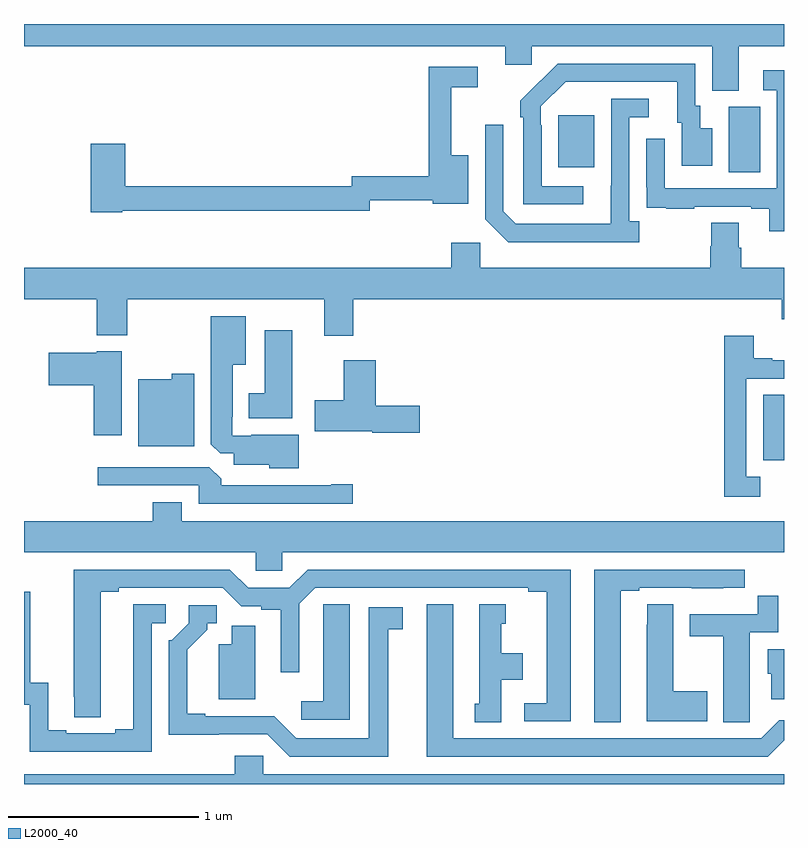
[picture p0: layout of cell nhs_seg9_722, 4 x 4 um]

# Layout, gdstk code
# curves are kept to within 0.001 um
import gdstk
lib = gdstk.Library(unit=1e-6, precision=1e-09)
def R(c, l, rs):  # rectangles x0, y0, x1, y1
    for r in rs: c.add(gdstk.rectangle(r[:2], r[2:], *l))
def P(c, l, *ps):  # polygons
    for p in ps: c.add(gdstk.Polygon(p, *l))
L2000_40 = (2000, 40)

nhs_seg9_722 = lib.new_cell('nhs_seg9_722')
R(nhs_seg9_722, L2000_40, [(150.89,1230.205,151,1230.548), (150.71,1231.72,150.874,1232.064), (149.813,1231.745,150.001,1232.02)])
P(nhs_seg9_722, L2000_40, [(150.763,1232.384),(151,1232.384),(151,1232.5),(147,1232.5),(147,1232.384),(149.534,1232.384),(149.534,1232.286),(149.673,1232.286),(149.673,1232.384),(150.623,1232.384),(150.623,1232.149),(150.763,1232.149)],
  [(149.944,1231.647),(149.724,1231.647),(149.724,1231.967),(149.721,1231.967),(149.721,1232.067),(149.85,1232.196),(150.437,1232.196),(150.437,1231.98),(150.461,1231.98),(150.461,1231.755),(150.622,1231.755),(150.622,1231.951),(150.559,1231.951),(150.559,1232.07),(150.534,1232.07),(150.534,1232.292),(149.81,1232.292),(149.613,1232.097),(149.613,1232.009),(149.628,1232.009),(149.628,1231.551),(149.944,1231.551)],
  [(147.516,1231.518),(148.821,1231.518),(148.821,1231.572),(149.15,1231.572),(149.15,1231.553),(149.338,1231.553),(149.338,1231.81),(149.249,1231.81),(149.249,1232.166),(149.389,1232.166),(149.389,1232.274),(149.131,1232.274),(149.131,1231.7),(148.725,1231.7),(148.725,1231.646),(147.533,1231.646),(147.533,1231.87),(147.35,1231.87),(147.35,1231.51),(147.516,1231.51)],
  [(151,1232.257),(150.891,1232.257),(150.891,1232.151),(150.963,1232.151),(150.963,1231.635),(150.372,1231.635),(150.372,1231.897),(150.276,1231.897),(150.276,1231.642),(150.277,1231.642),(150.277,1231.533),(150.379,1231.533),(150.379,1231.527),(150.527,1231.527),(150.527,1231.539),(150.827,1231.539),(150.827,1231.527),(150.923,1231.527),(150.923,1231.41),(151,1231.41)],
  [(150.238,1231.462),(150.186,1231.462),(150.186,1232.01),(150.289,1232.01),(150.289,1232.106),(150.09,1232.106),(150.089,1231.449),(149.589,1231.449),(149.523,1231.515),(149.523,1231.969),(149.427,1231.969),(149.427,1231.473),(149.548,1231.352),(150.238,1231.352)],
  [(148.733,1231.052),(150.989,1231.052),(150.989,1230.946),(151,1230.946),(151,1231.216),(150.776,1231.216),(150.776,1231.322),(150.763,1231.322),(150.763,1231.454),(150.616,1231.454),(150.616,1231.329),(150.611,1231.329),(150.611,1231.216),(149.4,1231.216),(149.4,1231.348),(149.249,1231.348),(149.249,1231.216),(147,1231.216),(147,1231.052),(147.383,1231.052),(147.383,1230.863),(147.543,1230.863),(147.543,1231.052),(148.58,1231.052),(148.58,1230.858),(148.733,1230.858)],
  [(148.447,1230.337),(148.195,1230.337),(148.195,1230.333),(148.095,1230.333),(148.095,1230.433),(148.099,1230.433),(148.099,1230.707),(148.168,1230.707),(148.168,1230.961),(147.983,1230.961),(147.983,1230.289),(148.032,1230.24),(148.103,1230.24),(148.103,1230.179),(148.29,1230.179),(148.29,1230.161),(148.447,1230.161)],
  [(148.411,1230.889),(148.268,1230.889),(148.268,1230.556),(148.184,1230.556),(148.184,1230.425),(148.411,1230.425)],
  [(150.874,1230.117),(150.801,1230.117),(150.801,1230.633),(151,1230.633),(151,1230.729),(150.937,1230.729),(150.937,1230.742),(150.841,1230.742),(150.841,1230.859),(150.685,1230.859),(150.685,1230.012),(150.874,1230.012)],
  [(147.514,1230.778),(147.384,1230.778),(147.384,1230.769),(147.129,1230.769),(147.129,1230.599),(147.368,1230.599),(147.368,1230.336),(147.514,1230.336)],
  [(149.083,1230.491),(148.85,1230.491),(148.85,1230.73),(148.682,1230.73),(148.682,1230.519),(148.53,1230.519),(148.53,1230.356),(148.833,1230.356),(148.833,1230.349),(149.083,1230.349)],
  [(147.895,1230.658),(147.777,1230.658),(147.777,1230.631),(147.602,1230.631),(147.602,1230.278),(147.895,1230.278)],
  [(148.729,1230.077),(148.616,1230.077),(148.616,1230.072),(148.037,1230.072),(148.037,1230.106),(147.975,1230.168),(147.387,1230.168),(147.387,1230.072),(147.921,1230.072),(147.921,1229.976),(148.729,1229.976)],
  [(148.359,1229.72),(151,1229.72),(151,1229.884),(147.829,1229.884),(147.829,1229.983),(147.677,1229.983),(147.677,1229.884),(147,1229.884),(147,1229.72),(148.221,1229.72),(148.221,1229.622),(148.359,1229.622)],
  [(150.142,1229.517),(150.238,1229.517),(150.238,1229.532),(150.514,1229.532),(150.514,1229.531),(150.68,1229.531),(150.68,1229.532),(150.793,1229.532),(150.793,1229.628),(150.002,1229.628),(150.002,1228.825),(150.142,1228.825)],
  [(149.878,1229.628),(148.493,1229.628),(148.397,1229.532),(148.179,1229.532),(148.083,1229.628),(147.263,1229.628),(147.264,1228.852),(147.403,1228.852),(147.403,1229.512),(147.499,1229.512),(147.499,1229.532),(148.047,1229.532),(148.143,1229.436),(148.248,1229.436),(148.248,1229.416),(148.352,1229.416),(148.352,1229.088),(148.449,1229.088),(148.449,1229.448),(148.533,1229.532),(149.654,1229.532),(149.654,1229.512),(149.75,1229.512),(149.75,1228.926),(149.634,1228.926),(149.634,1228.83),(149.878,1228.83)],
  [(147.672,1229.346),(147.745,1229.346),(147.745,1229.447),(147.575,1229.447),(147.575,1228.787),(147.479,1228.787),(147.479,1228.767),(147.223,1228.767),(147.223,1228.782),(147.127,1228.782),(147.127,1229.033),(147.033,1229.033),(147.033,1229.511),(147,1229.511),(147,1228.917),(147.03,1228.917),(147.03,1228.671),(147.672,1228.671)],
  [(150.819,1228.936),(150.82,1228.936),(150.82,1229.298),(150.971,1229.298),(150.971,1229.491),(150.862,1229.491),(150.862,1229.394),(150.503,1229.394),(150.503,1229.278),(150.68,1229.278),(150.68,1228.825),(150.819,1228.825)],
  [(150.595,1228.989),(150.418,1228.989),(150.418,1229.447),(150.279,1229.447),(150.279,1229.339),(150.278,1229.339),(150.278,1228.829),(150.595,1228.829)],
  [(148.714,1229.447),(148.575,1229.447),(148.575,1229.339),(148.574,1229.339),(148.574,1228.936),(148.458,1228.936),(148.458,1228.839),(148.714,1228.839)],
  [(149.512,1229.048),(149.626,1229.048),(149.626,1229.188),(149.512,1229.188),(149.512,1229.343),(149.536,1229.343),(149.536,1229.446),(149.396,1229.446),(149.396,1228.923),(149.372,1228.923),(149.372,1228.825),(149.512,1228.825)],
  [(151,1228.729),(151,1228.836),(150.975,1228.836),(150.879,1228.74),(149.26,1228.74),(149.26,1229.446),(149.12,1229.446),(149.12,1228.644),(150.915,1228.644)],
  [(148.918,1229.314),(148.993,1229.314),(148.993,1229.43),(148.814,1229.43),(148.814,1228.74),(148.434,1228.74),(148.317,1228.857),(147.955,1228.857),(147.955,1228.87),(147.859,1228.87),(147.859,1229.206),(147.964,1229.311),(147.964,1229.346),(148.014,1229.346),(148.014,1229.442),(147.867,1229.442),(147.867,1229.346),(147.777,1229.256),(147.762,1229.256),(147.762,1228.76),(148.281,1228.761),(148.398,1228.644),(148.918,1228.644)],
  [(148.216,1229.334),(148.094,1229.334),(148.094,1229.236),(148.025,1229.236),(148.025,1228.946),(148.216,1228.946)],
  [(151,1229.209),(150.914,1229.209),(150.914,1229.079),(150.932,1229.079),(150.932,1228.946),(151,1228.946)],
  [(151,1228.552),(148.26,1228.552),(148.26,1228.65),(148.109,1228.65),(148.109,1228.552),(147,1228.552),(147,1228.5),(151,1228.5)])

lib.write_gds('nhs_seg9_722.gds')
